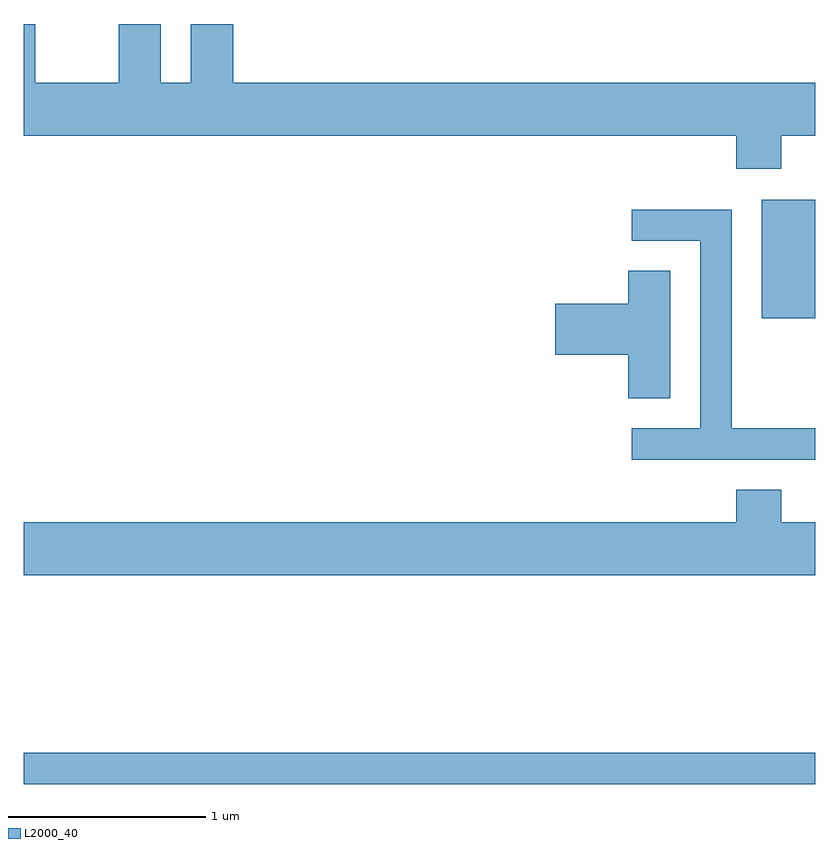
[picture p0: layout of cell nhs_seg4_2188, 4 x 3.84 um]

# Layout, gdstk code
import gdstk
lib = gdstk.Library(unit=1e-6, precision=1e-09)
def R(c, l, rs):  # rectangles x0, y0, x1, y1
    for r in rs: c.add(gdstk.rectangle(r[:2], r[2:], *l))
def P(c, l, *ps):  # polygons
    for p in ps: c.add(gdstk.Polygon(p, *l))
L2000_40 = (2000, 40)

nhs_seg4_2188 = lib.new_cell('nhs_seg4_2188')
R(nhs_seg4_2188, L2000_40, [(249.611,1278.141,253.611,1278.299), (253.341,1280.496,253.611,1281.094)])
P(nhs_seg4_2188, L2000_40, [(253.439,1281.416),(253.611,1281.416),(253.611,1281.684),(250.669,1281.684),(250.669,1281.982),(250.456,1281.982),(250.456,1281.684),(250.304,1281.684),(250.304,1281.982),(250.091,1281.982),(250.091,1281.684),(249.669,1281.684),(249.669,1281.982),(249.611,1281.982),(249.611,1281.416),(253.211,1281.416),(253.211,1281.251),(253.439,1281.251)],
  [(253.611,1279.939),(253.189,1279.939),(253.189,1281.044),(252.683,1281.044),(252.683,1280.886),(253.031,1280.886),(253.031,1279.939),(252.683,1279.939),(252.683,1279.781),(253.611,1279.781)],
  [(252.879,1280.734),(252.666,1280.734),(252.666,1280.569),(252.296,1280.569),(252.296,1280.311),(252.666,1280.311),(252.666,1280.091),(252.879,1280.091)],
  [(253.611,1279.464),(253.439,1279.464),(253.439,1279.629),(253.211,1279.629),(253.211,1279.464),(249.611,1279.464),(249.611,1279.196),(253.611,1279.196)])

lib.write_gds('nhs_seg4_2188.gds')
